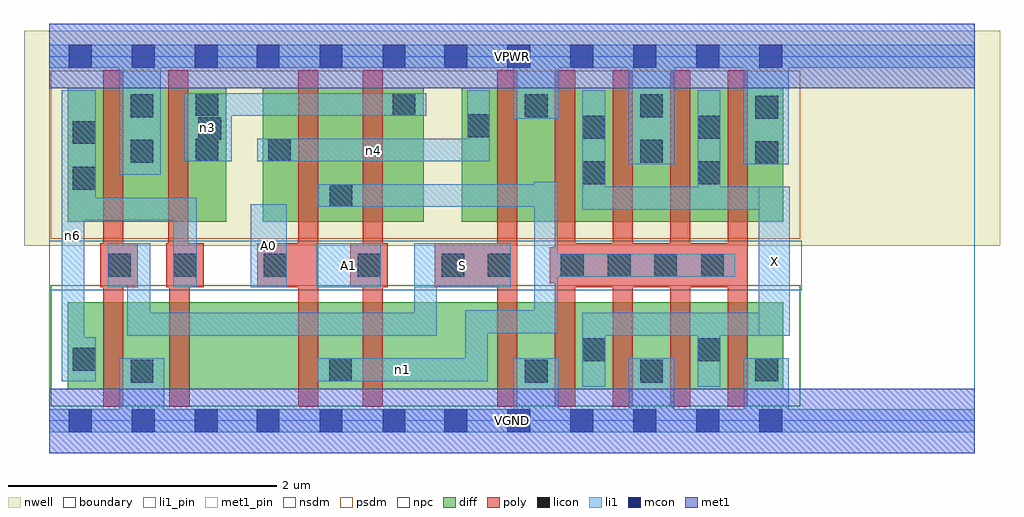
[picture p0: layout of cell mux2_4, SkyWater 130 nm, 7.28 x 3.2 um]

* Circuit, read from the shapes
.subckt mux2_4 A0 A1 S VGND VPWR X n1 n3 n4 n6
XM1 VGND S n6 VSUBS sky130_fd_pr__nfet_01v8 w=0.65 l=0.15
XM2 n2 n6 VGND VSUBS sky130_fd_pr__nfet_01v8 w=0.65 l=0.15
XM3 n1 A0 n2 VSUBS sky130_fd_pr__nfet_01v8 w=0.65 l=0.15
XM4 n5 A1 n1 VSUBS sky130_fd_pr__nfet_01v8 w=0.65 l=0.15
XM5 VGND S n5 VSUBS sky130_fd_pr__nfet_01v8 w=0.65 l=0.15
XM6 X n1 VGND VSUBS sky130_fd_pr__nfet_01v8 w=0.65 l=0.15 m=4
XM7 VPWR S n6 n7 sky130_fd_pr__pfet_01v8 w=1 l=0.15
XM8 n3 n6 VPWR n7 sky130_fd_pr__pfet_01v8 w=1 l=0.15
XM9 n1 A0 n4 n7 sky130_fd_pr__pfet_01v8 w=1 l=0.15
XM10 n3 A1 n1 n7 sky130_fd_pr__pfet_01v8 w=1 l=0.15
XM11 VPWR S n4 n7 sky130_fd_pr__pfet_01v8 w=1 l=0.15
XM12 X n1 VPWR n7 sky130_fd_pr__pfet_01v8 w=1 l=0.15 m=4
.ends

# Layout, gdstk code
import gdstk
lib = gdstk.Library(unit=1e-6, precision=1e-09)
def R(c, l, rs):  # rectangles x0, y0, x1, y1
    for r in rs: c.add(gdstk.rectangle(r[:2], r[2:], *l))
def A(c, l, x, y, w, h, nx, ny, dx, dy):  # array of equal rectangles
    R(c, l, [(x+i*dx, y+j*dy, x+i*dx+w, y+j*dy+h) for i in range(nx) for j in range(ny)])
nwell = (64, 20)
diff = (65, 20)
poly = (66, 20)
licon = (66, 44)
li1_pin = (67, 16)
li1 = (67, 20)
mcon = (67, 44)
met1_pin = (68, 16)
met1 = (68, 20)
nsdm = (93, 44)
psdm = (94, 20)
npc = (95, 20)
boundary = (235, 4)

mux2_4 = lib.new_cell('mux2_4')
R(mux2_4, nwell, [(-0.19,1.305,7.09,2.91), (0,1.305,6.9,2.91)])
R(mux2_4, diff, [(0.135,0.235,5.475,0.885), (0.135,1.485,1.32,2.485), (1.59,1.485,2.79,2.485), (3.075,1.485,5.475,2.485)])
A(mux2_4, poly, 3.34, 0.105, 0.15, 2.51, 5, 1, 0.43, 0)
R(mux2_4, poly, [(0.4,0.105,0.55,2.615), (0.895,0.105,1.045,1.325), (1.855,0.105,2.005,2.615), (2.335,0.105,2.485,2.615), (0.38,0.995,0.66,1.325), (0.87,0.995,1.15,1.325), (0.885,0.995,1.035,2.615), (1.55,0.995,2.005,1.325), (2.245,0.995,2.525,1.325), (2.875,0.995,3.49,1.325), (3.77,0.995,5.21,1.325), (3.73,1.025,5.21,1.295)])
R(mux2_4, licon, [(0.605,0.285,0.775,0.455), (3.545,0.285,3.715,0.455), (4.405,0.285,4.575,0.455), (2.085,0.295,2.255,0.465), (5.265,0.295,5.435,0.465), (0.175,0.375,0.345,0.545), (3.975,0.445,4.145,0.615), (4.835,0.445,5.005,0.615), (0.435,1.075,0.605,1.245), (0.925,1.075,1.095,1.245), (1.6,1.075,1.77,1.245), (2.3,1.075,2.47,1.245), (2.925,1.075,3.095,1.245), (3.27,1.075,3.44,1.245), (3.815,1.075,3.985,1.245), (4.165,1.075,4.335,1.245), (4.51,1.075,4.68,1.245), (4.86,1.075,5.03,1.245), (2.09,1.595,2.26,1.765), (0.175,1.725,0.345,1.895), (3.975,1.765,4.145,1.935), (4.835,1.765,5.005,1.935), (5.265,1.915,5.435,2.085), (0.605,1.925,0.775,2.095), (4.405,1.925,4.575,2.095), (1.09,1.935,1.26,2.105), (1.63,1.935,1.8,2.105), (0.175,2.065,0.345,2.235), (1.11,2.095,1.28,2.265), (3.975,2.105,4.145,2.275), (4.835,2.105,5.005,2.275), (3.115,2.115,3.285,2.285), (5.265,2.255,5.435,2.425), (0.605,2.265,0.775,2.435), (3.545,2.265,3.715,2.435), (4.405,2.265,4.575,2.435), (1.09,2.275,1.26,2.445), (2.56,2.275,2.73,2.445)])
R(mux2_4, li1_pin, [(5.29,0.635,5.52,1.745), (1.5,0.995,1.77,1.615), (1.99,0.995,2.47,1.325), (2.72,0.995,3.44,1.325)])
R(mux2_4, li1, [(0,-0.085,6.9,0.085), (0.52,-0.085,0.855,0.465), (3.46,-0.085,3.8,0.465), (4.32,-0.085,4.66,0.465), (5.18,-0.085,5.515,0.465), (3.975,0.255,4.145,0.805), (4.835,0.255,5.005,0.805), (0.09,0.295,0.26,2.465), (0.09,0.295,0.345,0.625), (2,0.295,3.27,0.465), (3.1,0.295,3.27,0.825), (0.58,0.635,2.89,0.805), (0.58,0.635,0.75,1.325), (2.72,0.635,2.89,1.325), (3.975,0.635,5.52,0.805), (5.29,0.635,5.52,1.745), (3.1,0.655,3.79,0.825), (3.615,0.655,3.79,1.785), (0.435,0.995,0.75,1.325), (0.925,0.995,1.1,1.665), (1.5,0.995,1.77,1.615), (1.99,0.995,2.47,1.325), (2.72,0.995,3.44,1.325), (3.615,1.075,5.115,1.245), (0.09,1.495,1.1,1.665), (0.09,1.495,0.345,2.465), (3.975,1.575,5.52,1.745), (3.975,1.575,4.145,2.465), (4.835,1.575,5.005,2.465), (2.005,1.595,3.79,1.765), (0.52,1.835,0.83,2.805), (4.32,1.915,4.66,2.805), (5.18,1.915,5.515,2.805), (1.005,1.935,1.36,2.445), (1.55,1.935,3.285,2.105), (3.115,1.935,3.285,2.465), (3.46,2.255,3.8,2.805), (1.005,2.275,2.81,2.445), (0,2.635,6.9,2.805)])
A(mux2_4, mcon, 0.145, -0.085, 0.17, 0.17, 3, 2, 0.47, 2.72)
A(mux2_4, mcon, 1.545, -0.085, 0.17, 0.17, 3, 2, 0.47, 2.72)
A(mux2_4, mcon, 2.945, -0.085, 0.17, 0.17, 6, 2, 0.47, 2.72)
R(mux2_4, met1_pin, [(0,-0.24,6.9,0.24), (0,2.48,6.9,2.96)])
R(mux2_4, met1, [(0,-0.24,6.9,0.24), (0,2.48,6.9,2.96)])
R(mux2_4, nsdm, [(0.01,0.11,5.6,1.01)])
R(mux2_4, psdm, [(0.01,1.36,5.6,2.61)])
R(mux2_4, npc, [(0,0.975,5.61,1.345)])
R(mux2_4, boundary, [(0,0,6.9,2.72)])
mux2_4.add(gdstk.Label('A0', (1.635,1.305), layer=67, texttype=5))
mux2_4.add(gdstk.Label('A1', (2.23,1.16), layer=67, texttype=5))
mux2_4.add(gdstk.Label('S', (3.08,1.16), layer=67, texttype=5))
mux2_4.add(gdstk.Label('X', (5.405,1.19), layer=67, texttype=5))
mux2_4.add(gdstk.Label('n1', (2.635,0.38), layer=67, texttype=5))
mux2_4.add(gdstk.Label('n3', (1.182,2.19), layer=67, texttype=5))
mux2_4.add(gdstk.Label('n6', (0.175,1.38), layer=67, texttype=5))
mux2_4.add(gdstk.Label('n4', (2.417,2.02), layer=67, texttype=5))
mux2_4.add(gdstk.Label('VPWR', (3.45,2.72), layer=68, texttype=5))
mux2_4.add(gdstk.Label('VGND', (3.45,0), layer=68, texttype=5))
mux2_4.add(gdstk.Label('A0', (1.635,1.305), layer=67, texttype=16))
mux2_4.add(gdstk.Label('A1', (2.23,1.16), layer=67, texttype=16))
mux2_4.add(gdstk.Label('S', (3.08,1.16), layer=67, texttype=16))
mux2_4.add(gdstk.Label('X', (5.405,1.19), layer=67, texttype=16))
mux2_4.add(gdstk.Label('VPWR', (3.45,2.72), layer=68, texttype=16))
mux2_4.add(gdstk.Label('VGND', (3.45,0), layer=68, texttype=16))

lib.write_gds('mux2_4.gds')
